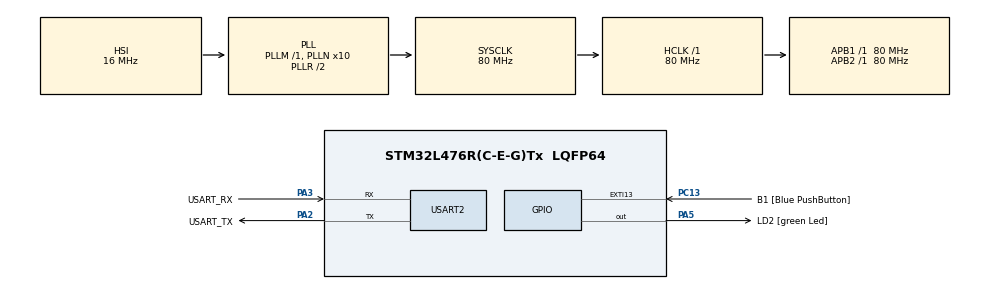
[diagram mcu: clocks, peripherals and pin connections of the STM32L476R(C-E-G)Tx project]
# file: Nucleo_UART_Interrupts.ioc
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Mcu.Family=STM32L4
Mcu.Name=STM32L476R(C-E-G)Tx
Mcu.Package=LQFP64
NVIC.PriorityGroup=NVIC_PRIORITYGROUP_4
NVIC.USART2_IRQn=true\:0\:0\:false\:false\:true\:true\:true\:true
PA13\ (JTMS-SWDIO).GPIO_Label=TMS
PA13\ (JTMS-SWDIO).Signal=SYS_JTMS-SWDIO
PA14\ (JTCK-SWCLK).GPIO_Label=TCK
PA14\ (JTCK-SWCLK).Signal=SYS_JTCK-SWCLK
PA2.GPIO_Label=USART_TX
PA2.GPIO_Mode=GPIO_MODE_AF_PP
PA2.GPIO_PuPd=GPIO_NOPULL
PA2.GPIO_Speed=GPIO_SPEED_FREQ_VERY_HIGH
PA2.Mode=Asynchronous
PA2.Signal=USART2_TX
PA3.GPIO_Label=USART_RX
PA3.GPIO_Mode=GPIO_MODE_AF_PP
PA3.GPIO_PuPd=GPIO_NOPULL
PA3.GPIO_Speed=GPIO_SPEED_FREQ_VERY_HIGH
PA3.Mode=Asynchronous
PA3.Signal=USART2_RX
PA5.GPIO_Label=LD2 [green Led]
PA5.GPIO_ModeDefaultOutputPP=GPIO_MODE_OUTPUT_PP
PA5.GPIO_PuPd=GPIO_NOPULL
PA5.GPIO_Speed=GPIO_SPEED_FREQ_LOW
PA5.Signal=GPIO_Output
PB3\ (JTDO-TRACESWO).GPIO_Label=SWO
PB3\ (JTDO-TRACESWO).Signal=SYS_JTDO-SWO
PC13.GPIO_Label=B1 [Blue PushButton]
PC13.GPIO_ModeDefaultEXTI=GPIO_MODE_IT_FALLING
PC13.GPIO_PuPd=GPIO_NOPULL
PC13.Signal=GPXTI13
PC14-OSC32_IN\ (PC14).Signal=RCC_OSC32_IN
PC15-OSC32_OUT\ (PC15).Signal=RCC_OSC32_OUT
PH0-OSC_IN\ (PH0).Signal=RCC_OSC_IN
PH1-OSC_OUT\ (PH1).Signal=RCC_OSC_OUT
ProjectManager.HeapSize=0x200
ProjectManager.StackSize=0x400
ProjectManager.TargetToolchain=STM32CubeIDE
RCC.ADCFreq_Value=64000000
RCC.AHBFreq_Value=80000000
RCC.APB1Freq_Value=80000000
RCC.APB1TimFreq_Value=80000000
RCC.APB2Freq_Value=80000000
RCC.APB2TimFreq_Value=80000000
RCC.CortexFreq_Value=80000000
RCC.HCLKFreq_Value=80000000
RCC.HSE_VALUE=8000000
RCC.HSI_VALUE=16000000
RCC.LSE_VALUE=32768
RCC.MSI_VALUE=4000000
RCC.PLLN=10
RCC.PLLSourceVirtual=RCC_PLLSOURCE_HSI
RCC.PREFETCH_ENABLE=1
RCC.SYSCLKFreq_VALUE=80000000
RCC.SYSCLKSource=RCC_SYSCLKSOURCE_PLLCLK
RCC.USBFreq_Value=64000000
RCC.VCOOutputFreq_Value=160000000
USART2.VirtualMode-Asynchronous=VM_ASYNC
board=NUCLEO-L476RG

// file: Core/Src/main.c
/* USER CODE BEGIN Header */
/**
  ******************************************************************************
  * @file           : main.c
  * @brief          : Main program body
  ******************************************************************************
  * @attention
  *
  * Copyright (c) 2026 STMicroelectronics.
  * All rights reserved.
  *
  * This software is licensed under terms that can be found in the LICENSE file
  * in the root directory of this software component.
  * If no LICENSE file comes with this software, it is provided AS-IS.
  *
  ******************************************************************************
  */
/* USER CODE END Header */
#include "main.h"

/* USER CODE BEGIN Includes */
#include "uart_interrupt.h"
/* USER CODE END Includes */

UART_HandleTypeDef huart2;

void SystemClock_Config(void);
static void MX_GPIO_Init(void);
static void MX_USART2_UART_Init(void);

int main(void)
{

  /* MCU Configuration--------------------------------------------------------*/

  /* Reset of all peripherals, Initializes the Flash interface and the Systick. */
  HAL_Init();

  /* Configure the system clock */
  SystemClock_Config();

  /* Initialize all configured peripherals */
  MX_GPIO_Init();
  MX_USART2_UART_Init();
  /* USER CODE BEGIN 2 */

  // Startup blink — confirms GPIO init ran before touching the pin
  HAL_GPIO_WritePin(LD2_GPIO_Port, LD2_Pin, GPIO_PIN_SET);
  HAL_Delay(200);
  HAL_GPIO_WritePin(LD2_GPIO_Port, LD2_Pin, GPIO_PIN_RESET);

  // Init driver — arms first RX interrupt, must come after MX_USART2_UART_Init
  UART_IT_Init(&huart2, 115200);
  UART_IT_TransmitString("UART Interrupt Driver Init\r\n");

  /* USER CODE END 2 */

  /* Infinite loop */
  /* USER CODE BEGIN WHILE */
  uint8_t  echoBuf[64];
  uint16_t echoLen    = 0;
  uint32_t lastToggle = 0;

  while (1)
  {
    /* USER CODE END WHILE */

    /* USER CODE BEGIN 3 */

    // Echo a full line back when CR received (PuTTY sends '\r' on Enter)
    if (UART_IT_ReceiveUntil(echoBuf, sizeof(echoBuf), '\r', &echoLen) == UART_IT_OK)
    {
      UART_IT_TransmitBuffer((uint8_t *)echoBuf, echoLen);
      echoLen = 0;
    }

    // Non-blocking LED toggle every 500ms
    if (HAL_GetTick() - lastToggle >= 500)
    {
      lastToggle = HAL_GetTick();
      HAL_GPIO_TogglePin(LD2_GPIO_Port, LD2_Pin);
    }

  }
  /* USER CODE END 3 */
}

void SystemClock_Config(void)
{
  RCC_OscInitTypeDef RCC_OscInitStruct = {0};
  RCC_ClkInitTypeDef RCC_ClkInitStruct = {0};

  /** Configure the main internal regulator output voltage
  */
  if (HAL_PWREx_ControlVoltageScaling(PWR_REGULATOR_VOLTAGE_SCALE1) != HAL_OK)
  {
    Error_Handler();
  }

  /** Initializes the RCC Oscillators according to the specified parameters
  * in the RCC_OscInitTypeDef structure.
  */
  RCC_OscInitStruct.OscillatorType = RCC_OSCILLATORTYPE_HSI;
  RCC_OscInitStruct.HSIState = RCC_HSI_ON;
  RCC_OscInitStruct.HSICalibrationValue = RCC_HSICALIBRATION_DEFAULT;
  RCC_OscInitStruct.PLL.PLLState = RCC_PLL_ON;
  RCC_OscInitStruct.PLL.PLLSource = RCC_PLLSOURCE_HSI;
  RCC_OscInitStruct.PLL.PLLM = 1;
  RCC_OscInitStruct.PLL.PLLN = 10;
  RCC_OscInitStruct.PLL.PLLP = RCC_PLLP_DIV7;
  RCC_OscInitStruct.PLL.PLLQ = RCC_PLLQ_DIV2;
  RCC_OscInitStruct.PLL.PLLR = RCC_PLLR_DIV2;
  if (HAL_RCC_OscConfig(&RCC_OscInitStruct) != HAL_OK)
  {
    Error_Handler();
  }

  /** Initializes the CPU, AHB and APB buses clocks
  */
  RCC_ClkInitStruct.ClockType = RCC_CLOCKTYPE_HCLK|RCC_CLOCKTYPE_SYSCLK
                              |RCC_CLOCKTYPE_PCLK1|RCC_CLOCKTYPE_PCLK2;
  RCC_ClkInitStruct.SYSCLKSource = RCC_SYSCLKSOURCE_PLLCLK;
  RCC_ClkInitStruct.AHBCLKDivider = RCC_SYSCLK_DIV1;
  RCC_ClkInitStruct.APB1CLKDivider = RCC_HCLK_DIV1;
  RCC_ClkInitStruct.APB2CLKDivider = RCC_HCLK_DIV1;

  if (HAL_RCC_ClockConfig(&RCC_ClkInitStruct, FLASH_LATENCY_4) != HAL_OK)
  {
    Error_Handler();
  }
}

static void MX_USART2_UART_Init(void)
{

  huart2.Instance = USART2;
  huart2.Init.BaudRate = 115200;
  huart2.Init.WordLength = UART_WORDLENGTH_8B;
  huart2.Init.StopBits = UART_STOPBITS_1;
  huart2.Init.Parity = UART_PARITY_NONE;
  huart2.Init.Mode = UART_MODE_TX_RX;
  huart2.Init.HwFlowCtl = UART_HWCONTROL_NONE;
  huart2.Init.OverSampling = UART_OVERSAMPLING_16;
  huart2.Init.OneBitSampling = UART_ONE_BIT_SAMPLE_DISABLE;
  huart2.AdvancedInit.AdvFeatureInit = UART_ADVFEATURE_NO_INIT;
  if (HAL_UART_Init(&huart2) != HAL_OK)
  {
    Error_Handler();
  }

}

static void MX_GPIO_Init(void)
{
  GPIO_InitTypeDef GPIO_InitStruct = {0};

  /* GPIO Ports Clock Enable */
  __HAL_RCC_GPIOC_CLK_ENABLE();
  __HAL_RCC_GPIOH_CLK_ENABLE();
  __HAL_RCC_GPIOA_CLK_ENABLE();
  __HAL_RCC_GPIOB_CLK_ENABLE();

  /*Configure GPIO pin Output Level */
  HAL_GPIO_WritePin(LD2_GPIO_Port, LD2_Pin, GPIO_PIN_RESET);

  /*Configure GPIO pin : B1_Pin */
  GPIO_InitStruct.Pin = B1_Pin;
  GPIO_InitStruct.Mode = GPIO_MODE_IT_FALLING;
  GPIO_InitStruct.Pull = GPIO_NOPULL;
  HAL_GPIO_Init(B1_GPIO_Port, &GPIO_InitStruct);

  /*Configure GPIO pin : LD2_Pin */
  GPIO_InitStruct.Pin = LD2_Pin;
  GPIO_InitStruct.Mode = GPIO_MODE_OUTPUT_PP;
  GPIO_InitStruct.Pull = GPIO_NOPULL;
  GPIO_InitStruct.Speed = GPIO_SPEED_FREQ_LOW;
  HAL_GPIO_Init(LD2_GPIO_Port, &GPIO_InitStruct);

}

void Error_Handler(void)
{
  __disable_irq();
  while (1)
  {
  }
}
